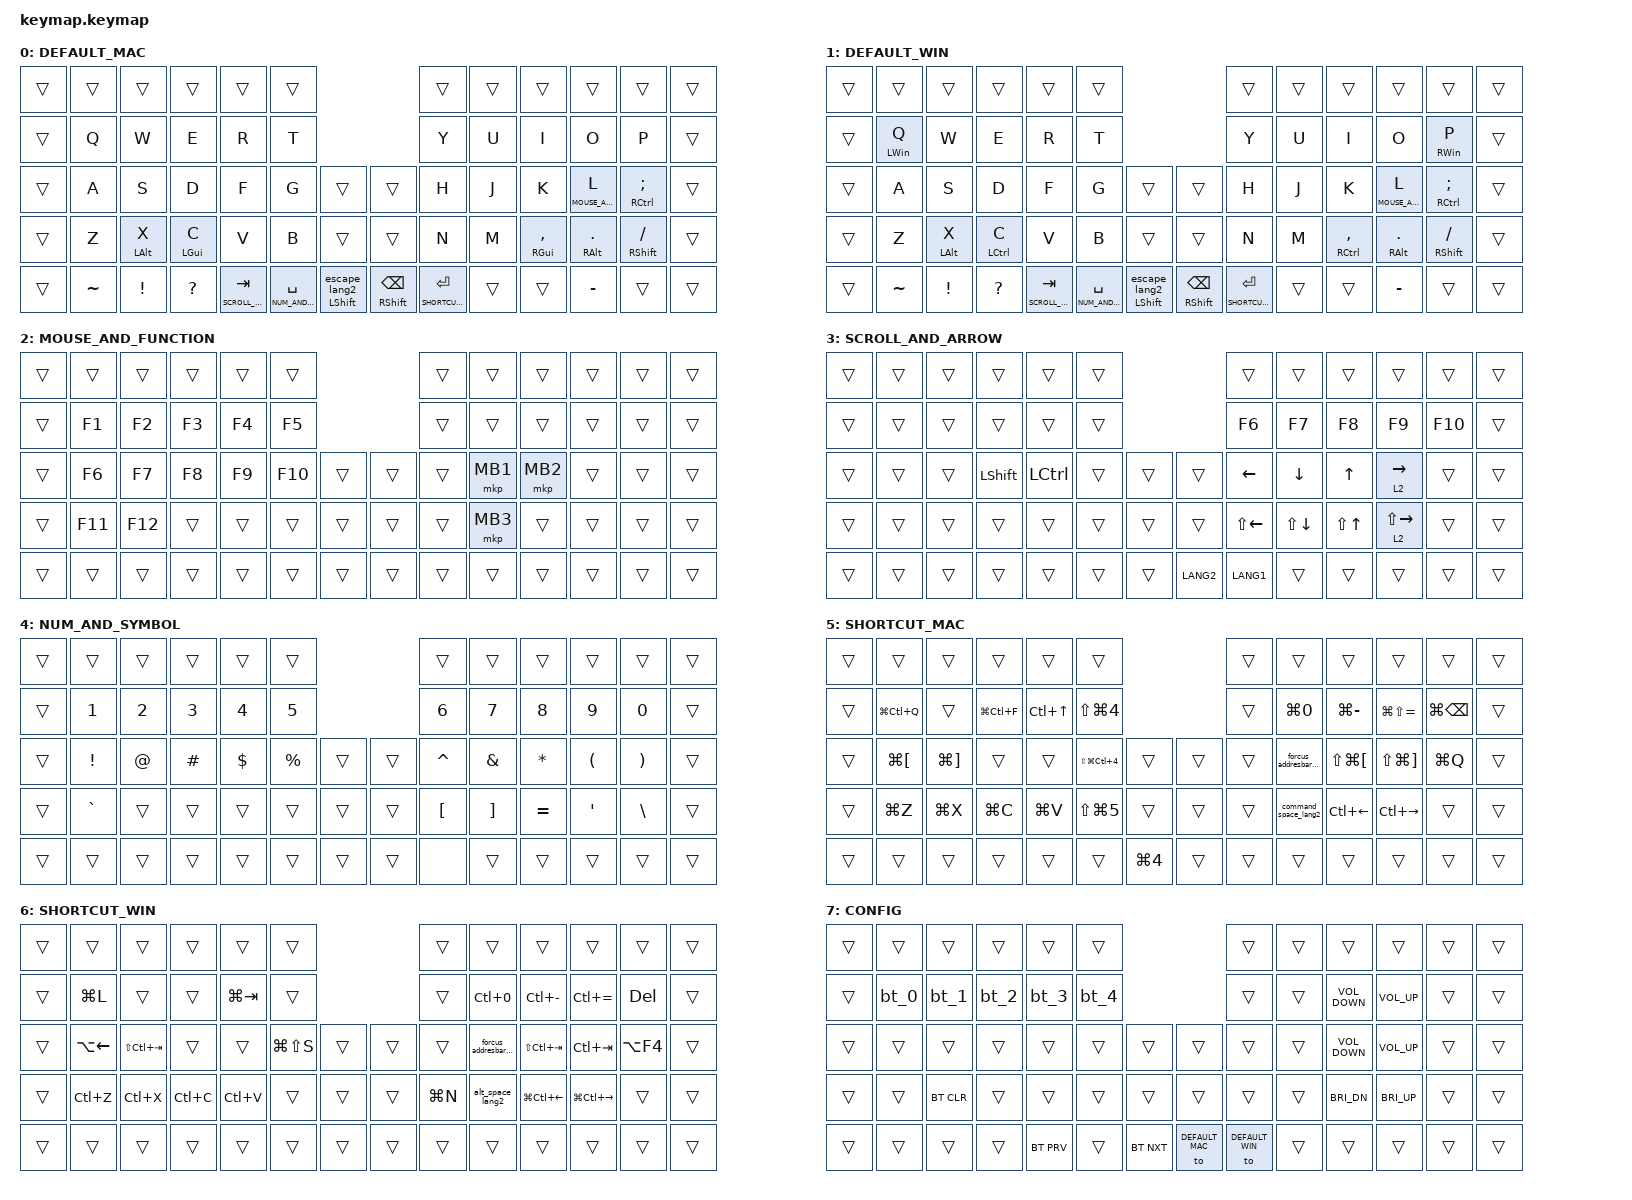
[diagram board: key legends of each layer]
#include <behaviors.dtsi>
#include <dt-bindings/zmk/bt.h>
#include <dt-bindings/zmk/keys.h>
#include <dt-bindings/zmk/outputs.h>
#include <dt-bindings/zmk/pointing.h>
#include <dt-bindings/zmk/input_transform.h>
#include <input/processors.dtsi>

// ロータリーエンコーダーは使わないのでコメントアウト
//#if defined(TORABO_TSUKI_LP_INPUT_HIRES_DIAL)
//#include <behaviors/hires_dial.dtsi>
//#endif

#define DEFAULT_MAC 0
#define DEFAULT_WIN 1
#define MOUSE_AND_FUNCTION 2
#define SCROLL_AND_ARROW 3
#define NUM_AND_SYMBOL 4
#define SHORTCUT_MAC 5
#define SHORTCUT_WIN 6
#define CONFIG 7


// OS設定を日本語キーボードのまま使用するための変換定義

#define JIS_EQUAL        UNDER             // =
#define JIS_PLUS         COLON             // +
#define JIS_COLON        SINGLE_QUOTE      // :
#define JIS_UNDERSCORE   LS(0x87)          // _
#define JIS_LBRACKET     RIGHT_BRACKET     // [
#define JIS_RBRACKET     BACKSLASH         // ]
#define JIS_LBRACE       RIGHT_BRACE       // {
#define JIS_RBRACE       PIPE              // }
#define JIS_YEN          0x89              // ¥
#define JIS_PIPE         LS(0x89)          // |
#define JIS_KANA         LANGUAGE_1        // かな
#define JIS_EISU         LANGUAGE_2        // 英数
#define JIS_HANZEN       GRAVE             // 半角/全角
#define JIS_BACKQUOTE    LEFT_BRACE        // `
#define JIS_TILDE        PLUS              // ~
#define JIS_AT           LEFT_BRACKET      // @
#define JIS_CARET        EQUAL             // ^
#define JIS_AMPERSAND    CARET             // &
#define JIS_ASTERISK     DOUBLE_QUOTES     // *
#define JIS_LPAR         ASTERISK          // (
#define JIS_RPAR         LEFT_PARENTHESIS  // )
#define JIS_DQUOTE       AT                // "
#define JIS_QUOTE        AMPERSAND         // '

&mt {
    flavor = "balanced";
    quick-tap-ms = <200>;
    tapping-term-ms = <150>;
};

&lt {
    flavor = "balanced";
    quick-tap-ms = <200>;
    tapping-term-ms = <150>;
};

/ {
    combos {
        compatible = "zmk,combos";

        right_gui_mac {
            bindings = <&kp RIGHT_GUI>;
            key-positions = <34 35>;
            layers = <DEFAULT_MAC>;
        };

        right_alt_win {
            bindings = <&kp RIGHT_ALT>;
            key-positions = <34 35>;
            layers = <DEFAULT_WIN>;
        };

        left_gui_mac {
            bindings = <&kp LEFT_GUI>;
            key-positions = <26 27>;
            layers = <DEFAULT_MAC>;
        };

        lefr_alt_win {
            bindings = <&kp LEFT_ALT>;
            key-positions = <26 27>;
            layers = <DEFAULT_WIN>;
        };

        left_config {
            bindings = <&mo CONFIG>;
            key-positions = <27 28>;
        };

        right_config {
            bindings = <&mo CONFIG>;
            key-positions = <33 34>;
        };

        lock_mac {
            bindings = <&kp LG(LC(Q))>;
            key-positions = <44 45>;
            layers = <DEFAULT_MAC>;
        };

        lock_win {
            bindings = <&kp LG(L)>;
            key-positions = <44 45>;
            layers = <DEFAULT_WIN>;
        };
    };


    macros {
        // エスケープキーと半角モード
        escape_lang2: escape_lang2 {
            compatible = "zmk,behavior-macro";
            #binding-cells = <0>;
            bindings = <&kp ESCAPE &kp LANG2>;
            label = "ESCAPE_LANG2";
        };

        // Windowsのランチャー起動
        alt_space_lang2: alt_space_lang2 {
            compatible = "zmk,behavior-macro";
            #binding-cells = <0>;
            bindings = <&kp LG(LA(SPACE)) &kp LANG2>;
            label = "ALT_SPACE_LANG2";
        };

        // Macのランチャー起動
        command_space_lang2: command_space_lang2 {
            compatible = "zmk,behavior-macro";
            #binding-cells = <0>;
            bindings = <&kp LG(SPACE) &kp LANG2>;
            label = "COMMAND_SPACE_LANG2";
        };

        // アドレスバーにフォーカスして半角にする Windows
        forcus_addresbar_win: forcus_addresbar_win {
            compatible = "zmk,behavior-macro";
            #binding-cells = <0>;
            bindings = <&kp LC(L) &kp LANG2 &kp N &kp M &kp SPACE>;
            label = "FORCUS_ADDRESBAR_WIN";
        };

        // アドレスバーにフォーカスして半角にする Mac
        forcus_addresbar_mac: forcus_addresbar_mac {
            compatible = "zmk,behavior-macro";
            #binding-cells = <0>;
            bindings = <&kp LG(L) &kp LANG2 &kp N &kp M &kp SPACE>;
            label = "FORCUS_ADDRESBAR_MAC";
        };

        bt_0: bt_0 {
            compatible = "zmk,behavior-macro";
            #binding-cells = <0>;
            bindings = <&bt BT_SEL 0  &to 0>;
            label = "BT_0";
        };

        bt_1: bt_1 {
            compatible = "zmk,behavior-macro";
            #binding-cells = <0>;
            bindings = <&bt BT_SEL 1  &to 0>;
            label = "BT_1";
        };

        bt_2: bt_2 {
            compatible = "zmk,behavior-macro";
            #binding-cells = <0>;
            bindings = <&bt BT_SEL 2  &to 0>;
            label = "BT_2";
        };

        bt_3: bt_3 {
            compatible = "zmk,behavior-macro";
            #binding-cells = <0>;
            bindings = <&bt BT_SEL 3  &to 1>;
            label = "BT_3";
        };

        bt_4: bt_4 {
            compatible = "zmk,behavior-macro";
            #binding-cells = <0>;
            bindings = <&bt BT_SEL 4  &to 0>;
            label = "BT_4";
        };
    };

    behaviors {
        mtl: mtl {
            compatible = "zmk,behavior-hold-tap";
            label = "MTL";
            bindings = <&kp>, <&kp>;

            #binding-cells = <2>;
            flavor = "balanced";
            quick-tap-ms = <300>;
            tapping-term-ms = <300>;
        };

        mthp: mthp {
            compatible = "zmk,behavior-hold-tap";
            label = "MTHP";
            bindings = <&kp>, <&kp>;

            #binding-cells = <2>;
            flavor = "hold-preferred";
            quick-tap-ms = <200>;
            tapping-term-ms = <300>;
        };

        mt_escape: mt_escape {
            compatible = "zmk,behavior-hold-tap";
            label = "MT_ESCAPE";
            bindings = <&kp>, <&escape_lang2>;

            #binding-cells = <2>;
            flavor = "balanced";
            quick-tap-ms = <200>;
            tapping-term-ms = <300>;
        };
    };

    keymap {
        compatible = "zmk,keymap";

        DEFAULT_MAC {
            bindings = <
&trans  &trans     &trans          &trans          &trans                       &trans                                                               &trans                  &trans    &trans               &trans                    &trans                 &trans
&trans  &kp Q      &kp W           &kp E           &kp R                        &kp T                                                                &kp Y                   &kp U     &kp I                &kp O                     &kp P                  &trans
&trans  &kp A      &kp S           &kp D           &kp F                        &kp G                     &trans               &trans                &kp H                   &kp J     &kp K                &lt MOUSE_AND_FUNCTION L  &mt RCTRL SEMI         &trans
&trans  &kp Z      &mt LEFT_ALT X  &mt LEFT_GUI C  &kp V                        &kp B                     &trans               &trans                &kp N                   &kp M     &mt RIGHT_GUI COMMA  &mt RALT PERIOD           &mt RIGHT_SHIFT SLASH  &trans
&trans  &kp TILDE  &kp EXCL        &kp QMARK       &lt SCROLL_AND_ARROW TAB     &lt NUM_AND_SYMBOL SPACE  &mt_escape LSHIFT 0  &mt RSHIFT BACKSPACE  &lt SHORTCUT_MAC ENTER  &trans    &trans               &kp MINUS                 &trans                  &trans
//#if defined(TORABO_TSUKI_LP_KSCAN_4_DIRECTION_SWITCH)
//&msc SCRL_UP &msc SCRL_DOWN &msc SCRL_LEFT &msc SCRL_RIGHT &mkp MCLK
//#elif defined(TORABO_TSUKI_LP_INPUT_HIRES_DIAL)
//&mkp MCLK
//#endif
            >;
        };

        DEFAULT_WIN {
            bindings = <
&trans  &trans          &trans          &trans       &trans                       &trans                                                               &trans                  &trans    &trans           &trans                    &trans                 &trans
&trans  &mt LEFT_WIN Q  &kp W           &kp E        &kp R                        &kp T                                                                &kp Y                   &kp U     &kp I            &kp O                     &mt RIGHT_WIN P        &trans
&trans  &kp A           &kp S           &kp D        &kp F                        &kp G                     &trans               &trans                &kp H                   &kp J     &kp K            &lt MOUSE_AND_FUNCTION L  &mt RCTRL SEMI         &trans
&trans  &kp Z           &mt LEFT_ALT X  &mt LCTRL C  &kp V                        &kp B                     &trans               &trans                &kp N                   &kp M     &mt RCTRL COMMA  &mt RALT PERIOD           &mt RIGHT_SHIFT SLASH  &trans
&trans  &kp TILDE       &kp EXCL        &kp QMARK    &lt SCROLL_AND_ARROW TAB     &lt NUM_AND_SYMBOL SPACE  &mt_escape LSHIFT 0  &mt RSHIFT BACKSPACE  &lt SHORTCUT_WIN ENTER  &trans    &trans           &kp MINUS                 &trans                 &trans
//#if defined(TORABO_TSUKI_LP_KSCAN_4_DIRECTION_SWITCH)
//&msc SCRL_UP &msc SCRL_DOWN &msc SCRL_LEFT &msc SCRL_RIGHT &mkp MCLK
//#elif defined(TORABO_TSUKI_LP_INPUT_HIRES_DIAL)
//&mkp MCLK
//#endif
            >;
        };

        MOUSE_AND_FUNCTION {
            bindings = <
&trans  &trans   &trans   &trans  &trans  &trans                   &trans  &trans    &trans    &trans  &trans   &trans
&trans  &kp F1   &kp F2   &kp F3  &kp F4  &kp F5                   &trans  &trans    &trans    &trans  &trans  &trans
&trans  &kp F6   &kp F7   &kp F8  &kp F9  &kp F10  &trans  &trans  &trans  &mkp MB1  &mkp MB2  &trans  &trans   &trans
&trans  &kp F11  &kp F12  &trans  &trans  &trans   &trans  &trans  &trans  &mkp MB3  &trans    &trans  &trans   &trans
&trans  &trans   &trans   &trans  &trans  &trans   &trans  &trans  &trans  &trans    &trans    &trans  &trans   &trans
//#if defined(TORABO_TSUKI_LP_KSCAN_4_DIRECTION_SWITCH)
//&msc SCRL_UP &msc SCRL_DOWN &msc SCRL_LEFT &msc SCRL_RIGHT &mkp MCLK
//#elif defined(TORABO_TSUKI_LP_INPUT_HIRES_DIAL)
//&mkp MCLK
//#endif
            >;
        };

        //  コマンドキーやオプションキーと同時押しが必要なキーはここには書かない
        SCROLL_AND_ARROW {
            bindings = <
&trans  &trans  &trans  &trans      &trans     &trans                     &trans              &trans              &trans            &trans                 &trans         &trans
&trans  &trans  &trans  &trans      &trans     &trans                     &kp F6              &kp F7              &kp F8            &kp F9                 &kp F10        &trans
&trans  &trans  &trans  &kp LSHIFT  &kp LCTRL  &trans  &trans  &trans     &kp LEFT_ARROW      &kp DOWN_ARROW      &kp UP_ARROW      &lt 2 RIGHT_ARROW      &trans         &trans
&trans  &trans  &trans  &trans      &trans     &trans  &trans  &trans     &kp LS(LEFT_ARROW)  &kp LS(DOWN_ARROW)  &kp LS(UP_ARROW)  &lt 2 LS(RIGHT_ARROW)  &trans         &trans
&trans  &trans  &trans  &trans      &trans     &trans  &trans  &kp LANG2  &kp LANG1           &trans              &trans            &trans                 &trans         &trans
//#if defined(TORABO_TSUKI_LP_KSCAN_4_DIRECTION_SWITCH)
//&msc SCRL_UP &msc SCRL_DOWN &msc SCRL_LEFT &msc SCRL_RIGHT &mkp MCLK
//#elif defined(TORABO_TSUKI_LP_INPUT_HIRES_DIAL)
//&kp C_MUTE
//#endif
            >;
        };

        NUM_AND_SYMBOL {
            bindings = <
&trans  &trans           &trans       &trans    &trans      &trans                       &trans            &trans             &trans        &trans            &trans         &trans
&trans  &kp N1           &kp N2       &kp N3    &kp N4      &kp N5                       &kp N6            &kp N7             &kp N8        &kp N9            &kp N0         &trans
&trans  &kp EXCLAMATION  &kp AT_SIGN  &kp HASH  &kp DOLLAR  &kp PERCENT  &trans  &trans  &kp CARET         &kp AMPERSAND      &kp ASTERISK  &kp LPAR          &kp RPAR       &trans
&trans  &kp GRAVE        &trans       &trans    &trans      &trans       &trans  &trans  &kp LEFT_BRACKET  &kp RIGHT_BRACKET  &kp EQUAL     &kp SINGLE_QUOTE  &kp BACKSLASH  &trans
&trans  &trans           &trans       &trans    &trans      &trans       &trans  &trans  &none             &trans             &trans        &trans            &trans         &trans
//#if defined(TORABO_TSUKI_LP_KSCAN_4_DIRECTION_SWITCH)
//&msc SCRL_UP &msc SCRL_DOWN &msc SCRL_LEFT &msc SCRL_RIGHT &mkp MCLK
//#elif defined(TORABO_TSUKI_LP_INPUT_HIRES_DIAL)
//&hires_dial_radial_controller_button
//#endif
            >;
        };

        SHORTCUT_MAC {
            bindings = <
&trans  &trans                &trans                 &trans         &trans            &trans                                  &trans  &trans                 &trans                    &trans                     &trans             &trans
&trans  &kp LG(LC(Q))         &trans                 &kp LG(LC(F))  &kp LC(UP_ARROW)  &kp LS(LG(N4))                          &trans  &kp LG(N0)             &kp LG(MINUS)             &kp LG(LS(EQUAL))          &kp LG(BACKSPACE)  &trans
&trans  &kp LG(LEFT_BRACKET)  &kp LG(RIGHT_BRACKET)  &trans         &trans            &kp LS(LG(LC(N4)))  &trans      &trans  &trans  &forcus_addresbar_mac  &kp LS(LG(LEFT_BRACKET))  &kp LS(LG(RIGHT_BRACKET))  &kp LG(Q)          &trans
&trans  &kp LG(Z)             &kp LG(X)              &kp LG(C)      &kp LG(V)         &kp LS(LG(N5))      &trans      &trans  &trans  &command_space_lang2   &kp LC(LEFT_ARROW)        &kp LC(RIGHT_ARROW)        &trans             &trans
&trans  &trans                &trans                 &trans         &trans            &trans              &kp LG(N4)  &trans  &trans  &trans                 &trans                    &trans                     &trans             &trans
//#if defined(TORABO_TSUKI_LP_KSCAN_4_DIRECTION_SWITCH)
//&msc SCRL_UP &msc SCRL_DOWN &msc SCRL_LEFT &msc SCRL_RIGHT &mkp MCLK
//#elif defined(TORABO_TSUKI_LP_INPUT_HIRES_DIAL)
//&mkp MCLK
//#endif
            >;
        };

        SHORTCUT_WIN {
            bindings = <
&trans  &trans              &trans           &trans     &trans       &trans                         &trans     &trans                 &trans                  &trans                   &trans      &trans
&trans  &kp LG(L)           &trans           &trans     &kp LG(TAB)  &trans                         &trans     &kp LC(N0)             &kp LC(MINUS)           &kp LC(EQUAL)            &kp DELETE  &trans
&trans  &kp LA(LEFT_ARROW)  &kp LS(LC(TAB))  &trans     &trans       &kp LG(LS(S))  &trans  &trans  &trans     &forcus_addresbar_win  &kp LS(LC(TAB))         &kp LC(TAB)              &kp LA(F4)  &trans
&trans  &kp LC(Z)           &kp LC(X)        &kp LC(C)  &kp LC(V)    &trans         &trans  &trans  &kp LG(N)  &alt_space_lang2       &kp LG(LC(LEFT_ARROW))  &kp LG(LC(RIGHT_ARROW))  &trans      &trans
&trans  &trans              &trans           &trans     &trans       &trans         &trans  &trans  &trans     &trans                 &trans                  &trans                   &trans      &trans
//#if defined(TORABO_TSUKI_LP_KSCAN_4_DIRECTION_SWITCH)
//&msc SCRL_UP &msc SCRL_DOWN &msc SCRL_LEFT &msc SCRL_RIGHT &mkp MCLK
//#elif defined(TORABO_TSUKI_LP_INPUT_HIRES_DIAL)
//&mkp MCLK
//#endif
            >;
        };

        // &bt BT_SELでBluetooth接続先を変える設定を入れると動作しなくなった
        // Bluetoothの切り替えはBT_NXT BT_PRV で行うようにする
        // 電源ON時は一番最初（おそらく0）に戻る模様
        CONFIG {
            bindings = <
&trans  &trans  &trans      &trans  &trans      &trans                                &trans           &trans  &trans             &trans           &trans  &trans
&trans  &bt_0   &bt_1       &bt_2   &bt_3       &bt_4                                 &trans           &trans  &kp C_VOLUME_DOWN  &kp C_VOLUME_UP  &trans  &trans
&trans  &trans  &trans      &trans  &trans      &trans  &trans       &trans           &trans           &trans  &kp C_VOLUME_DOWN  &kp C_VOLUME_UP  &trans  &trans
&trans  &trans  &bt BT_CLR  &trans  &trans      &trans  &trans       &trans           &trans           &trans  &kp C_BRI_DN       &kp C_BRI_UP     &trans  &trans
&trans  &trans  &trans      &trans  &bt BT_PRV  &trans  &bt BT_NXT   &to DEFAULT_MAC  &to DEFAULT_WIN  &trans  &trans             &trans           &trans  &trans
//#if defined(TORABO_TSUKI_LP_KSCAN_4_DIRECTION_SWITCH)
//&msc SCRL_UP &msc SCRL_DOWN &msc SCRL_LEFT &msc SCRL_RIGHT &mkp MCLK
//#elif defined(TORABO_TSUKI_LP_INPUT_HIRES_DIAL)
//&mkp MCLK
//#endif
            >;
        };

    };
};

/* SCROLL_AND_ARROW レイヤー有効時にトラックボールをスクロール化 */
&pointing_listener {
    scroller {
        layers = <SCROLL_AND_ARROW>;
        input-processors = <&zip_xy_to_scroll_mapper>,
                           <&zip_scroll_transform (INPUT_TRANSFORM_X_INVERT)>,
                           <&zip_scroll_scaler 1 6>;
    };
};

//#if defined(TORABO_TSUKI_LP_INPUT_HIRES_DIAL)
//&{/keymap/layer_0} {
//    sensor-bindings = <&hires_dial_scroll 1 1>;
//};
//
//&{/keymap/layer_1} {
//    sensor-bindings = <&hires_dial_scroll 10 1>;
//};
//
//&{/keymap/layer_2} {
//    sensor-bindings = <&hires_dial_encoder C_VOL_UP C_VOL_DN>;
//};
//
//&{/keymap/layer_3} {
//    /* Quarter-speed Radial Controller motion: output/input = 1/4. */
//    sensor-bindings = <&hires_dial_radial_controller 4 1>;
//};
//#endif
